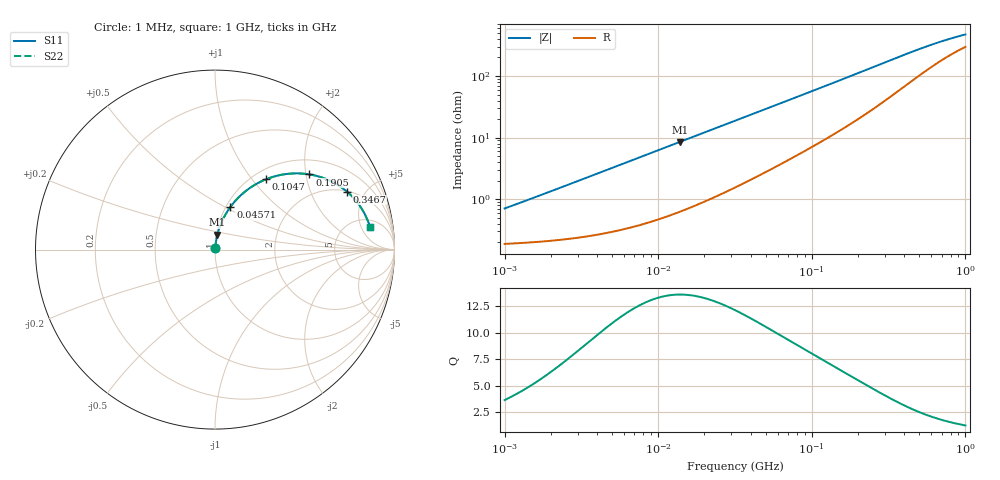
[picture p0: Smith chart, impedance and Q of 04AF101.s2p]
# MHz S MA R 50
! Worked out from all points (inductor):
!   151 points, 1 MHz to 1 GHz, reference 50 ohm
!   read as one part in series: L = 107 nH near 1 MHz
!   highest Q = 13.6 at 13.8 MHz (marker M1), where L = 97.6 nH
!   S11 on the Smith chart (normalised r, x): 1 MHz: 1.00, +0.01; 45.71 MHz: 1.05, +0.53; 104.7 MHz: 1.15, +1.18; 190.5 MHz: 1.37, +2.09; 346.7 MHz: 2.04, +3.71; 1 GHz: 7, +7
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1  0.007043 74.2  0.9981 -0.4  0.9981 -0.4  0.007043 74.2
3.16228  0.02068 82.2  0.9974 -1.2  0.9974 -1.2  0.02068 82.2
6.0256  0.03823 82.9  0.996 -2.2  0.996 -2.2  0.03823 82.9
10  0.06194 82.2  0.9934 -3.5  0.9934 -3.5  0.06194 82.2
13.8038  0.08407 81.0  0.9903 -4.8  0.9903 -4.8  0.08407 81.0
20.893  0.1241 78.6  0.9829 -7.1  0.9829 -7.1  0.1241 78.6
31.6228  0.1818 74.8  0.9685 -10.4  0.9685 -10.4  0.1818 74.8
45.7088  0.2523 70.2  0.9448 -14.6  0.9448 -14.6  0.2523 70.2
57.544  0.307 66.5  0.9218 -17.8  0.9218 -17.8  0.307 66.5
69.1831  0.3565 63.1  0.8972 -20.8  0.8972 -20.8  0.3565 63.1
83.1764  0.4108 59.3  0.8659 -24.1  0.8659 -24.1  0.4108 59.3
104.713  0.4835 54.1  0.8163 -28.7  0.8163 -28.7  0.4835 54.1
125.893  0.5436 49.5  0.7676 -32.6  0.7676 -32.6  0.5436 49.5
144.544  0.5883 45.9  0.7262 -35.6  0.7262 -35.6  0.5883 45.9
190.546  0.6723 38.5  0.6328 -41.5  0.6328 -41.5  0.6723 38.5
239.883  0.7325 32.5  0.5488 -45.8  0.5488 -45.8  0.7325 32.5
316.228  0.7887 25.8  0.4489 -49.8  0.4489 -49.8  0.7887 25.8
346.737  0.8033 23.7  0.4173 -50.7  0.4173 -50.7  0.8033 23.7
436.516  0.8317 19.0  0.3453 -51.8  0.3453 -51.8  0.8317 19.0
549.541  0.8504 15.1  0.2852 -51.1  0.2852 -51.1  0.8504 15.1
758.578  0.8658 10.9  0.222 -47.5  0.222 -47.5  0.8658 10.9
1000  0.8737 8.3  0.1846 -42.8  0.1846 -42.8  0.8737 8.3
